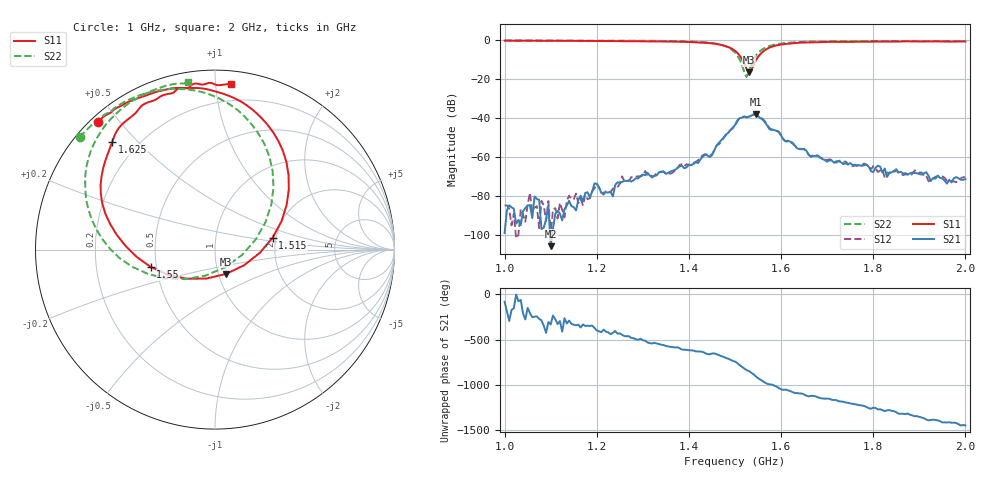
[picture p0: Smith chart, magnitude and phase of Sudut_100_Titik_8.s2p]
# Hz S RI R 50
! CMT, C1220, 16058040, 17.2.0/1
! Date: 14/08/2018 12:05:33
! Data: Format (Calibration Info)
! Freq  S11: Re/Im (F2)  S21: Re/Im (F2)  S12: Re/Im (F2)  S22: Re/Im (F2)
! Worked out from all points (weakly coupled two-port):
!   201 points, 1 GHz to 2 GHz, reference 50 ohm
!   highest |S21| = -37.97 dB at 1.545 GHz (marker M1); lowest = -105.7 dB at 1.1 GHz (marker M2)
!   lowest |S11| = -16.5 dB at 1.53 GHz (marker M3), VSWR 1.35, Z = 54.3 - j15.1 ohm
!   |S11| at or under -10 dB: 1.516 GHz to 1.546 GHz (30.65 MHz wide, 2 % of centre)
!   |S22| runs from -18.9 to -0.2 dB; largest |S21 - S12| = 0.00054
!   S11 on the Smith chart (normalised r, x): 1 GHz: 0.02, +0.44; 1.515 GHz: 1.92, +0.28; 1.55 GHz: 0.47, -0.10; 1.625 GHz: 0.11, +0.42; 2 GHz: 0.09, +1.09
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1e9  -0.6542 0.71  1.33e-06 -1.13e-05  -5.75e-05 -4.42e-06  -0.7535 0.6257
1.1e9  -0.5637 0.78  4.67e-06 2.32e-06  1.02e-05 -1.55e-06  -0.6802 0.7006
1.17e9  -0.4862 0.8215  6.61e-05 3.27e-05  5.78e-05 -8.68e-06  -0.6162 0.7516
1.185e9  -0.4625 0.8307  9.27e-05 1.64e-05  8e-05 -3.63e-05  -0.5988 0.7609
1.195e9  -0.4495 0.8352  0.000209 -4.05e-05  0.000156 -1.84e-05  -0.5867 0.7648
1.215e9  -0.4313 0.8428  0.000105 -6.34e-05  6.61e-05 -8.72e-05  -0.5754 0.7734
1.235e9  -0.3973 0.8543  4.06e-05 -8.95e-05  0.00011 -0.000109  -0.5544 0.793
1.245e9  -0.3778 0.8611  6.05e-05 -0.000218  8.7e-05 -0.000148  -0.5421 0.8006
1.255e9  -0.3621 0.8668  9.24e-06 -0.00023  4.76e-05 -0.000318  -0.5285 0.8088
1.335e9  -0.2292 0.8995  -0.000402 7.12e-05  -0.000388 9.2e-05  -0.3997 0.8663
1.445e9  0.1469 0.8234  0.000547 0.000844  0.000599 0.00088  -0.00672 0.8556
1.5e9  0.4112 0.3365  0.00611 -0.00266  0.00576 -0.00247  0.3259 0.3501
1.515e9  0.3207 0.0656  0.00159 -0.0101  0.00187 -0.0102  0.2263 0.0559
1.525e9  0.1625 -0.087  -0.00486 -0.00923  -0.00486 -0.00927  0.0554 -0.0996
1.53e9  0.0606 -0.1361  -0.00674 -0.00846  -0.00673 -0.00859  -0.0532 -0.1449
1.545e9  -0.2645 -0.1393  -0.0126 0.00138  -0.0124 0.00106  -0.374 -0.1353
1.55e9  -0.3582 -0.0966  -0.01 0.005  -0.0102 0.00456  -0.4587 -0.097
1.58e9  -0.6282 0.258  0.00065 0.00493  0.000909 0.00508  -0.7033 0.2164
1.625e9  -0.5728 0.5991  0.00234 -3.92e-05  0.00224 1.39e-05  -0.7014 0.5203
1.67e9  -0.4611 0.7446  0.000793 -0.000727  0.000825 -0.000771  -0.6252 0.6732
1.835e9  -0.1604 0.8988  -0.000373 0.000128  -0.000302 0.000241  -0.3751 0.8749
2e9  0.0864 0.9209  0.00027 -3.97e-05  0.0003 -3.14e-05  -0.1506 0.9335
